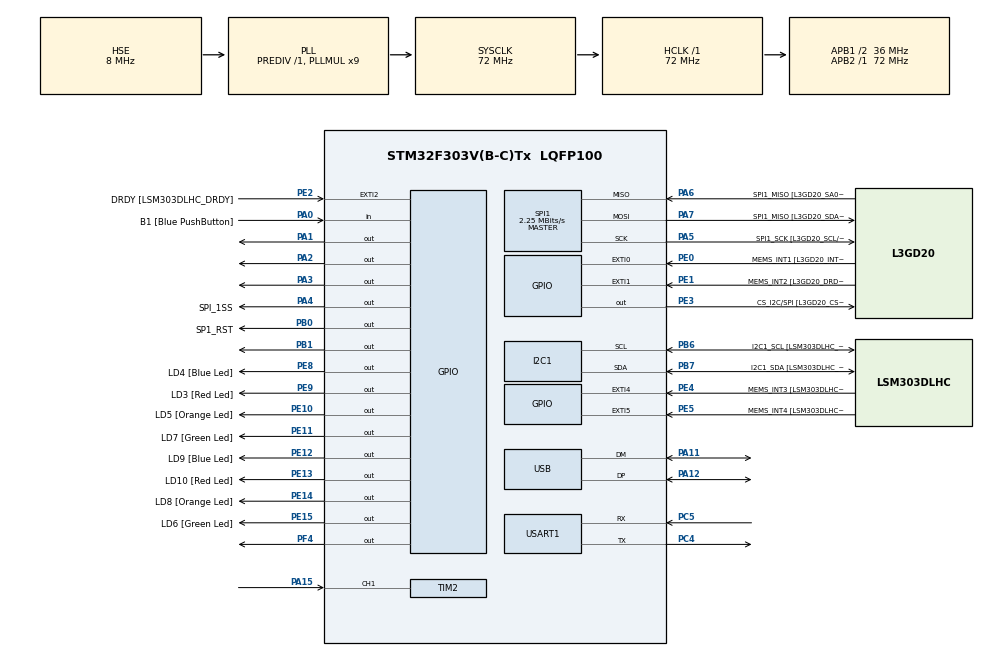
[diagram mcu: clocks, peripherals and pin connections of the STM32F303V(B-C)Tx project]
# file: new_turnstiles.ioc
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I2C1.Timing=0x00201D2B
I2C1.Timing-I2C=0x2000090E
Mcu.Family=STM32F3
Mcu.Name=STM32F303V(B-C)Tx
Mcu.Package=LQFP100
NVIC.PriorityGroup=NVIC_PRIORITYGROUP_0
NVIC.TIM2_IRQn=true\:0\:0\:false\:false\:true\:true\:true\:true
PA0.GPIO_Label=B1 [Blue PushButton]
PA0.Signal=GPIO_Input
PA1.Signal=GPIO_Output
PA11.GPIO_Mode=GPIO_MODE_AF_PP
PA11.GPIO_PuPd=GPIO_NOPULL
PA11.GPIO_Speed=GPIO_SPEED_FREQ_HIGH
PA11.Mode=Device
PA11.Signal=USB_DM
PA12.GPIO_Mode=GPIO_MODE_AF_PP
PA12.GPIO_PuPd=GPIO_NOPULL
PA12.GPIO_Speed=GPIO_SPEED_FREQ_HIGH
PA12.Mode=Device
PA12.Signal=USB_DP
PA13.GPIO_Label=SWDIO
PA13.Mode=Serial_Wire
PA13.Signal=SYS_JTMS-SWDIO
PA14.GPIO_Label=SWCLK
PA14.Mode=Serial_Wire
PA14.Signal=SYS_JTCK-SWCLK
PA15.GPIO_PuPd=GPIO_PULLUP
PA15.Signal=S_TIM2_CH1_ETR
PA2.Signal=GPIO_Output
PA3.Signal=GPIO_Output
PA4.GPIO_Label=SPI_1SS
PA4.Signal=GPIO_Output
PA5.GPIO_Label=SPI1_SCK [L3GD20_SCL/SPC]
PA5.Mode=Full_Duplex_Master
PA5.Signal=SPI1_SCK
PA6.GPIO_Label=SPI1_MISO [L3GD20_SA0/SDO]
PA6.Mode=Full_Duplex_Master
PA6.Signal=SPI1_MISO
PA7.GPIO_Label=SPI1_MISO [L3GD20_SDA/SDI/SDO]
PA7.Mode=Full_Duplex_Master
PA7.Signal=SPI1_MOSI
PB0.GPIO_Label=SP1_RST
PB0.GPIO_PuPd=GPIO_NOPULL
PB0.Signal=GPIO_Output
PB1.Signal=GPIO_Output
PB3.GPIO_Label=SWO
PB3.Signal=SYS_JTDO-TRACESWO
PB6.GPIO_Label=I2C1_SCL [LSM303DLHC_SCL]
PB6.GPIO_Pu=GPIO_PULLUP
PB6.Mode=I2C
PB6.Signal=I2C1_SCL
PB7.GPIO_Label=I2C1_SDA [LSM303DLHC_SDA]
PB7.GPIO_Pu=GPIO_PULLUP
PB7.Mode=I2C
PB7.Signal=I2C1_SDA
PC14-OSC32_IN.GPIO_Label=OSC32_IN
PC14-OSC32_IN.Signal=RCC_OSC32_IN
PC15-OSC32_OUT.GPIO_Label=OSC32_OUT
PC15-OSC32_OUT.Signal=RCC_OSC32_OUT
PC4.Mode=Asynchronous
PC4.Signal=USART1_TX
PC5.Mode=Asynchronous
PC5.Signal=USART1_RX
PE0.GPIO_Label=MEMS_INT1 [L3GD20_INT1]
PE0.GPIO_ModeDefaultEXTI=GPIO_MODE_EVT_RISING
PE0.Signal=GPXTI0
PE1.GPIO_Label=MEMS_INT2 [L3GD20_DRDY/INT2]
PE1.GPIO_ModeDefaultEXTI=GPIO_MODE_EVT_RISING
PE1.Signal=GPXTI1
PE10.GPIO_Label=LD5 [Orange Led]
PE10.Signal=GPIO_Output
PE11.GPIO_Label=LD7 [Green Led]
PE11.Signal=GPIO_Output
PE12.GPIO_Label=LD9 [Blue Led]
PE12.Signal=GPIO_Output
PE13.GPIO_Label=LD10 [Red Led]
PE13.Signal=GPIO_Output
PE14.GPIO_Label=LD8 [Orange Led]
PE14.Signal=GPIO_Output
PE15.GPIO_Label=LD6 [Green Led]
PE15.Signal=GPIO_Output
PE2.GPIO_Label=DRDY [LSM303DLHC_DRDY]
PE2.GPIO_ModeDefaultEXTI=GPIO_MODE_EVT_RISING
PE2.Signal=GPXTI2
PE3.GPIO_Label=CS_I2C/SPI [L3GD20_CS_I2C/SPI]
PE3.Signal=GPIO_Output
PE4.GPIO_Label=MEMS_INT3 [LSM303DLHC_INT1]
PE4.GPIO_ModeDefaultEXTI=GPIO_MODE_EVT_RISING
PE4.Signal=GPXTI4
PE5.GPIO_Label=MEMS_INT4 [LSM303DLHC_INT2]
PE5.GPIO_ModeDefaultEXTI=GPIO_MODE_EVT_RISING
PE5.Signal=GPXTI5
PE8.GPIO_Label=LD4 [Blue Led]
PE8.Signal=GPIO_Output
PE9.GPIO_Label=LD3 [Red Led]
PE9.Signal=GPIO_Output
PF0-OSC_IN.GPIO_Label=OSC_IN
PF0-OSC_IN.Mode=HSE-External-Clock-Source
PF0-OSC_IN.Signal=RCC_OSC_IN
PF1-OSC_OUT.GPIO_Label=OSC_OUT
PF1-OSC_OUT.Signal=RCC_OSC_OUT
PF4.Signal=GPIO_Output
ProjectManager.HeapSize=0x200
ProjectManager.StackSize=0x400
ProjectManager.TargetToolchain=STM32CubeIDE
RCC.AHBFreq_Value=72000000
RCC.APB1CLKDivider=RCC_HCLK_DIV2
RCC.APB1Freq_Value=36000000
RCC.APB1TimFreq_Value=72000000
RCC.APB2Freq_Value=72000000
RCC.APB2TimFreq_Value=72000000
RCC.CortexFreq_Value=72000000
RCC.HCLKFreq_Value=72000000
RCC.HSE_VALUE=8000000
RCC.HSI_VALUE=8000000
RCC.LSE_VALUE=32768
RCC.PLLMUL=RCC_PLL_MUL9
RCC.PRESCALERUSB=RCC_USBCLKSOURCE_PLL_DIV1_5
RCC.SYSCLKFreq_VALUE=72000000
RCC.SYSCLKSourceVirtual=RCC_SYSCLKSOURCE_PLLCLK
RCC.USBFreq_Value=48000000
SH.S_TIM2_CH1_ETR.0=TIM2_CH1,Input_Capture1_from_TI1
SPI1.BaudRatePrescaler=SPI_BAUDRATEPRESCALER_32
SPI1.BaudRatePrescaler-Full_Duplex_Master=SPI_BAUDRATEPRESCALER_2
SPI1.CalculateBaudRate=2.25 MBits/s
SPI1.CalculateBaudRate-Full_Duplex_Master=24.0 MBits/s
SPI1.DataSize=SPI_DATASIZE_8BIT
SPI1.Direction=SPI_DIRECTION_2LINES
SPI1.Mode=SPI_MODE_MASTER
SPI1.Mode-Full_Duplex_Master=SPI_MODE_MASTER
SPI1.VirtualType=VM_MASTER
TIM1.Prescaler=72-1
TIM2.Channel-Input_Capture1_from_TI1=TIM_CHANNEL_1
TIM2.Prescaler=72-1
USART1.VirtualMode-Asynchronous=VM_ASYNC
VP_TIM1_VS_ClockSourceINT.Mode=Internal
board=STM32F3DISCOVERY

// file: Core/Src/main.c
/* USER CODE BEGIN Header */
/**
  ******************************************************************************
  * @file           : main.c
  * @brief          : Main program body
  ******************************************************************************
  * @attention
  *
  * Copyright (c) 2025 STMicroelectronics.
  * All rights reserved.
  *
  * This software is licensed under terms that can be found in the LICENSE file
  * in the root directory of this software component.
  * If no LICENSE file comes with this software, it is provided AS-IS.
  *
  ******************************************************************************
  */
/* USER CODE END Header */
#include "main.h"

/* USER CODE BEGIN Includes */
#include "rc522.h"
#include <stdbool.h> // Aggiungi questa riga per il tipo bool
#include "Tag.h"
#include "lcd_i2c.h"
#include <stdio.h> // Per sprintf
/* USER CODE END Includes */

/* USER CODE BEGIN PD */

#define stepsperrev 4096 //PER UNA RIVOLUZIONE

/* USER CODE END PD */

I2C_HandleTypeDef hi2c1;

SPI_HandleTypeDef hspi1;

TIM_HandleTypeDef htim1;
TIM_HandleTypeDef htim2;

UART_HandleTypeDef huart1;

PCD_HandleTypeDef hpcd_USB_FS;

/* USER CODE BEGIN PV */
volatile uint8_t bitCount = 0;
volatile uint8_t isStartCaptured = 0; // 0: reset, 1: start bit (9ms pulse) captured, 2: 4.5ms pulse captured
volatile uint32_t receivedData = 0;
static volatile uint8_t isRisingCaptured = 0; // Questa variabile non sembra usata nel codice fornito, potrebbe essere un residuo
static volatile uint32_t IC_Value = 0; // Valore catturato dall'Input Capture
/* USER CODE END PV */

void SystemClock_Config(void);
static void MX_GPIO_Init(void);
static void MX_I2C1_Init(void);
static void MX_SPI1_Init(void);
static void MX_USB_PCD_Init(void);
static void MX_TIM1_Init(void);
static void MX_TIM2_Init(void);
static void MX_USART1_UART_Init(void);

/* USER CODE BEGIN 0 */
/* Private user code ---------------------------------------------------------*/
/* USER CODE BEGIN 0 */

void i2c_scanner(void)
{
    uint8_t i;
    HAL_StatusTypeDef ret;
    char buffer[20];
    uint8_t found_devices = 0;

    // Optional: if you have a serial port/UART configured, you can print messages there
    // Otherwise, you can use a breakpoint in debugger to check the output
    // For now, let's assume you'll use a debugger or just count LEDs

    // Toggle a LED to indicate scanning started
    HAL_GPIO_TogglePin(GPIOE, LD3_Pin); // Use one of your LEDs on GPIOE

    for(i = 1; i < 128; i++) // I2C addresses are 7-bit, from 0x01 to 0x77
    {
        // Try to transmit 1 byte to the current address
        // The last parameter (1) is the number of bytes to transmit, doesn't matter what
        // The timeout (5) is short to quickly check for ACK
        ret = HAL_I2C_IsDeviceReady(&hi2c1, (uint16_t)(i << 1), 2, 5); // Shift address for 8-bit format

        if (ret == HAL_OK) // Device responded (ACK received)
        {
            // Device found!
            found_devices++;
            // If you have a UART setup, you could print the address:
            // sprintf(buffer, "Found I2C device at 0x%X\r\n", i);
            // HAL_UART_Transmit(&huart2, (uint8_t*)buffer, strlen(buffer), 100);

            // You can also blink a specific LED or set a breakpoint here
            HAL_GPIO_TogglePin(GPIOE, LD4_Pin); // Blink another LED to confirm detection
            HAL_Delay(100); // Small delay to make LED blink visible
        }
    }

    // Toggle LED again to indicate scanning finished
    HAL_GPIO_TogglePin(GPIOE, LD3_Pin);

    // If you're debugging, you can check 'found_devices' variable here.
    // If found_devices > 0, it means at least one device responded.
    // If found_devices == 1 and you only have the LCD, then 'i' in the loop
    // when ret == HAL_OK will be your LCD address.
}

// Funzione per tagliare una stringa a una lunghezza massima
void truncateString(char* str, size_t maxLength) {
    if (strlen(str) > maxLength) {
        str[maxLength] = '\0';
    }
}

void delay (uint16_t us)
{
	__HAL_TIM_SET_COUNTER(&htim1, 0);
	while (__HAL_TIM_GET_COUNTER(&htim1) < us);
}

void stepper_set_rpm (int rpm)  // Set rpm--> max 13, min 1,,,  went to 14 rev/min
{
	delay(60000000/stepsperrev/rpm);
}

void stepper_half_drive (int step)
{
	switch (step){
		case 0:
			HAL_GPIO_WritePin(GPIOA, GPIO_PIN_1, GPIO_PIN_SET);   // IN1
			HAL_GPIO_WritePin(GPIOA, GPIO_PIN_2, GPIO_PIN_RESET);   // IN2
			HAL_GPIO_WritePin(GPIOA, GPIO_PIN_3, GPIO_PIN_RESET);   // IN3
			HAL_GPIO_WritePin(GPIOF, GPIO_PIN_4, GPIO_PIN_RESET);   // IN4
			break;
		case 1:
			HAL_GPIO_WritePin(GPIOA, GPIO_PIN_1, GPIO_PIN_SET);   // IN1
			HAL_GPIO_WritePin(GPIOA, GPIO_PIN_2, GPIO_PIN_SET);   // IN2
			HAL_GPIO_WritePin(GPIOA, GPIO_PIN_3, GPIO_PIN_RESET);   // IN3
			HAL_GPIO_WritePin(GPIOF, GPIO_PIN_4, GPIO_PIN_RESET);   // IN4
			break;
		case 2:
			HAL_GPIO_WritePin(GPIOA, GPIO_PIN_1, GPIO_PIN_RESET);   // IN1
			HAL_GPIO_WritePin(GPIOA, GPIO_PIN_2, GPIO_PIN_SET);   // IN2
			HAL_GPIO_WritePin(GPIOA, GPIO_PIN_3, GPIO_PIN_RESET);   // IN3
			HAL_GPIO_WritePin(GPIOF, GPIO_PIN_4, GPIO_PIN_RESET);   // IN4
			break;
		case 3:
			HAL_GPIO_WritePin(GPIOA, GPIO_PIN_1, GPIO_PIN_RESET);   // IN1
			HAL_GPIO_WritePin(GPIOA, GPIO_PIN_2, GPIO_PIN_SET);   // IN2
			HAL_GPIO_WritePin(GPIOA, GPIO_PIN_3, GPIO_PIN_SET);   // IN3
			HAL_GPIO_WritePin(GPIOF, GPIO_PIN_4, GPIO_PIN_RESET);   // IN4
			break;
		case 4:
			HAL_GPIO_WritePin(GPIOA, GPIO_PIN_1, GPIO_PIN_RESET);   // IN1
			HAL_GPIO_WritePin(GPIOA, GPIO_PIN_2, GPIO_PIN_RESET);   // IN2
			HAL_GPIO_WritePin(GPIOA, GPIO_PIN_3, GPIO_PIN_SET);   // IN3
			HAL_GPIO_WritePin(GPIOF, GPIO_PIN_4, GPIO_PIN_RESET);   // IN4
			break;
		case 5:
			HAL_GPIO_WritePin(GPIOA, GPIO_PIN_1, GPIO_PIN_RESET);   // IN1
			HAL_GPIO_WritePin(GPIOA, GPIO_PIN_2, GPIO_PIN_RESET);   // IN2
			HAL_GPIO_WritePin(GPIOA, GPIO_PIN_3, GPIO_PIN_SET);   // IN3
			HAL_GPIO_WritePin(GPIOF, GPIO_PIN_4, GPIO_PIN_SET);   // IN4
			break;
		case 6:
			HAL_GPIO_WritePin(GPIOA, GPIO_PIN_1, GPIO_PIN_RESET);   // IN1
			HAL_GPIO_WritePin(GPIOA, GPIO_PIN_2, GPIO_PIN_RESET);   // IN2
			HAL_GPIO_WritePin(GPIOA, GPIO_PIN_3, GPIO_PIN_RESET);   // IN3
			HAL_GPIO_WritePin(GPIOF, GPIO_PIN_4, GPIO_PIN_SET);   // IN4
			break;
		case 7:
			HAL_GPIO_WritePin(GPIOA, GPIO_PIN_1, GPIO_PIN_SET);   // IN1
			HAL_GPIO_WritePin(GPIOA, GPIO_PIN_2, GPIO_PIN_RESET);   // IN2
			HAL_GPIO_WritePin(GPIOA, GPIO_PIN_3, GPIO_PIN_RESET);   // IN3
			HAL_GPIO_WritePin(GPIOF, GPIO_PIN_4, GPIO_PIN_SET);   // IN4
			break;
	}
}

void stepper_step_angle (float angle, int direction, int rpm) //direction-> 0 for CK, 1 for CCK
{
	float anglepersequence = 0.703125;  // 360 = 512 sequences
	int numberofsequences = (int) (angle/anglepersequence);
	for (int seq=0; seq<numberofsequences; seq++)
	{
		if (direction == 0)  // for clockwise
		{
			for (int step=7; step>=0; step--)
				{
				stepper_half_drive(step);
				stepper_set_rpm(rpm);
				}
		}
		else if (direction == 1)  // for anti-clockwise
		{
			for (int step=0; step<=7; step++)
				{
				stepper_half_drive(step);
				stepper_set_rpm(rpm);
				}
		}
	}
}

float currentAngle = 0; // Questa va dichiarata come variabile globale, non locale a main.

void Stepper_rotate (float targetAngle, int rpm) // Accetta float per l'angolo target
{
    float changeInAngle = targetAngle - currentAngle; // Calcola la differenza tra l'angolo target e l'attuale

    if (changeInAngle > 0.001f)  // Per rotazione in senso orario (valore > 0 con una piccola tolleranza)
    {
        stepper_step_angle(changeInAngle, 0, rpm); // direction 0 per orario
    }
    else if (changeInAngle < -0.001f) // Per rotazione in senso antiorario (valore < 0 con una piccola tolleranza)
    {
        stepper_step_angle(-changeInAngle, 1, rpm); // direction 1 per antiorario, passa il valore assoluto dell'angolo
    }
    currentAngle = targetAngle; // Aggiorna l'angolo corrente
}

/* USER CODE END 0 */

int main(void)
{

  /* MCU Configuration--------------------------------------------------------*/

  /* Reset of all peripherals, Initializes the Flash interface and the Systick. */
  HAL_Init();

  /* Configure the system clock */
  SystemClock_Config();

  /* Initialize all configured peripherals */
  MX_GPIO_Init();
  MX_I2C1_Init();
  MX_SPI1_Init();
  MX_USB_PCD_Init();
  MX_TIM1_Init();
  MX_TIM2_Init();
  MX_USART1_UART_Init();
  /* USER CODE BEGIN 2 */
  i2c_scanner();

  HAL_TIM_Base_Start(&htim1); // Questo è il timer che usi per i tuoi ritardi, lascialo
  HAL_TIM_IC_Start_IT(&htim2, TIM_CHANNEL_1); // Avvia l'Input Capture con interruzioni

  uchar status_request=0;
  uchar TagType[2] = {0,0};
  uchar serNum[5]= {0,0,0,0,0};	//Per memorizzare il seriale del tag

  TagData* tag; // Puntatore a TagData, non allocazione qui
  MFRC522_Init(); // Inizializza il sensore RC522

  char displayBuffer[64];
  lcd_init(); // Initialize the LCD
  lcd_display_message_lines("Inserire card"," o biglietto ");

  //stop_stepper_motor(); // Assicuriamoci che il motore passo-passo sia fermo
  /* USER CODE END 2 */

  /* Infinite loop */
  while (1)
  {

    /* USER CODE BEGIN 3 */

	  // Controlla se 32 bit sono stati ricevuti (il flag bitCount lo indica)
	  if (32 <= bitCount) // Gestione sensore IR
	        {
	            char ir_buffer[17]; // Max 16 caratteri
	            snprintf(ir_buffer, 17, "IR DATA: 0x%lX", receivedData);
	            lcd_display_message_lines("RICEVUTO IR:", ir_buffer);
	            HAL_Delay(2000);

	            if (receivedData == receivedData) // Logica IR
	            {
	                lcd_display_message_lines("ACCESSO", "CONSENTITO!");
	                HAL_Delay(1000);
	                //APERTURA TORNELLO
					for (int i = 0; i <= 360; i++) {
						Stepper_rotate((float)i, 10);
					}
					HAL_Delay(1000);
					//CHIUSURA TORNELLO
					for (int i = 360; i >= 0; i--) {
						Stepper_rotate((float)i, 10);
					}

	                lcd_display_message_lines("ARRIVEDERCI", "da Pozzuoli");
	                HAL_Delay(1000);
	            }
	            else
	            {
	                lcd_display_message_lines("IR: CODICE", "SCONOSCIUTO!");
	                HAL_Delay(2000);
	            }

	            bitCount = 0;
	            receivedData = 0;
	            isStartCaptured = 0;
	            HAL_TIM_IC_Start_IT(&htim2, TIM_CHANNEL_1);
	        }

	        if (isSensorDetected()){
	              HAL_GPIO_WritePin(LD10_GPIO_Port, LD10_Pin, GPIO_PIN_SET);
	              HAL_Delay(10);
	              status_request = MFRC522_Request(PICC_REQIDL, TagType);

	              if (status_request == MI_OK)
	              {
	                HAL_GPIO_WritePin(LD3_GPIO_Port, LD3_Pin, GPIO_PIN_SET);
	                lcd_display_message_lines("TAG RFID", "RILEVATO!");
	                HAL_Delay(500);

	                status_request = MFRC522_Anticoll(serNum);
	                if (status_request == MI_OK)
	                {
	                   if(isTagRegistered(&serNum)){
	                       tag = findTag(&serNum);
	                       HAL_GPIO_WritePin(LD7_GPIO_Port, LD7_Pin, GPIO_PIN_SET);

	                       char tagName[MAX_STRING_LENGTH];
	                       char tagSurname[MAX_STRING_LENGTH];
	                       char dispLine1[17]; // Buffer per LCD linea 1
	                       char dispLine2[17]; // Buffer per LCD linea 2

	                       getNamesBySerial(serNum, tagName, sizeof(tagName), tagSurname, sizeof(tagSurname));

	                       // Assicurati che nome e cognome non superino i 16 caratteri per la visualizzazione
	                       truncateString(tagName, 16);
	                       truncateString(tagSurname, 16);

	                       snprintf(dispLine1, 17, "Ciao %s", tagName);
	                       lcd_display_message_lines(dispLine1, tagSurname);
	                       HAL_Delay(1000);
	                       // Visualizza la stazione di partenza attuale del tag
	                       snprintf(dispLine2, 17, "FROM: %s", tag->departureStation);
	                       truncateString(dispLine2, 16); // Tronca se la stazione è troppo lunga
	                       lcd_display_message_lines(tagSurname, dispLine2);
	                       HAL_Delay(2000);

	                       TicketProcessResult result = processTicketPayment(tag);

	                       switch (result.accessType) {
	                           case ACCESS_ENTER:
	                               lcd_display_message_lines(result.messageLine1, result.messageLine2);
	                               HAL_Delay(1000);
	                               //APERTURA TORNELLO
									for (int i = 0; i <= 360; i++) {
										Stepper_rotate((float)i, 10);
									}
									HAL_Delay(1000);
									//CHIUSURA TORNELLO
									for (int i = 360; i >= 0; i--) {
										Stepper_rotate((float)i, 10);
									}
	                               HAL_Delay(1000);
	                               lcd_display_message_lines("TORNELLO APERTO", "BENVENUTO!");
	                               HAL_Delay(1000);
	                               break;

	                           case ACCESS_EXIT:
	                               lcd_display_message_lines(result.messageLine1, result.messageLine2);
	                               HAL_Delay(1000);
	                               //APERTURA TORNELLO
									for (int i = 0; i <= 360; i++) {
										Stepper_rotate((float)i, 10);
									}
									HAL_Delay(1000);
									//CHIUSURA TORNELLO
									for (int i = 360; i >= 0; i--) {
										Stepper_rotate((float)i, 10);
									}
	                               lcd_display_message_lines("TORNELLO CHIUSO", "ARRIVEDERCI!");
	                               HAL_Delay(1000);
	                               break;

	                           case ACCESS_DENIED:
	                               lcd_display_message_lines(result.messageLine1, result.messageLine2);
	                               if (result.showRedLed) {
	                                   HAL_GPIO_WritePin(LD6_GPIO_Port, LD6_Pin, GPIO_PIN_SET);
	                                   HAL_Delay(2000);
	                                   HAL_GPIO_WritePin(LD6_GPIO_Port, LD6_Pin, GPIO_PIN_RESET);
	                               }
	                               HAL_Delay(1000);
	                               break;
	                       }

	                       HAL_GPIO_WritePin(LD7_GPIO_Port, LD7_Pin, GPIO_PIN_RESET);
	                       HAL_Delay(50);
	                       lcd_display_message_lines("Inserire card"," o biglietto ");

	                   }else{
	                       // Tag NON Riconosciuto.
	                       HAL_GPIO_WritePin(LD6_GPIO_Port,LD6_Pin,GPIO_PIN_SET);
	                       lcd_display_message_lines("ACCESSO", "NEGATO!");
	                       HAL_Delay(2000);
	                       HAL_GPIO_WritePin(LD6_GPIO_Port,LD6_Pin,GPIO_PIN_RESET);
	                       HAL_Delay(50);
	                       lcd_display_message_lines("Inserire card"," o biglietto ");
	                   }
	              }
	              else
	              {
	                HAL_GPIO_WritePin(LD3_GPIO_Port, LD3_Pin, GPIO_PIN_RESET);
	              }
	          }
	          else
	          {
	              HAL_GPIO_WritePin(LD10_GPIO_Port, LD10_Pin, GPIO_PIN_RESET);
	              HAL_GPIO_WritePin(LD3_GPIO_Port, LD3_Pin, GPIO_PIN_RESET);
	              HAL_Delay(500);
	          }
	       }
	    }
  /* USER CODE END 3 */
}

void SystemClock_Config(void)
{
  RCC_OscInitTypeDef RCC_OscInitStruct = {0};
  RCC_ClkInitTypeDef RCC_ClkInitStruct = {0};
  RCC_PeriphCLKInitTypeDef PeriphClkInit = {0};

  /** Initializes the RCC Oscillators according to the specified parameters
  * in the RCC_OscInitTypeDef structure.
  */
  RCC_OscInitStruct.OscillatorType = RCC_OSCILLATORTYPE_HSI|RCC_OSCILLATORTYPE_HSE;
  RCC_OscInitStruct.HSEState = RCC_HSE_BYPASS;
  RCC_OscInitStruct.HSEPredivValue = RCC_HSE_PREDIV_DIV1;
  RCC_OscInitStruct.HSIState = RCC_HSI_ON;
  RCC_OscInitStruct.HSICalibrationValue = RCC_HSICALIBRATION_DEFAULT;
  RCC_OscInitStruct.PLL.PLLState = RCC_PLL_ON;
  RCC_OscInitStruct.PLL.PLLSource = RCC_PLLSOURCE_HSE;
  RCC_OscInitStruct.PLL.PLLMUL = RCC_PLL_MUL9;
  if (HAL_RCC_OscConfig(&RCC_OscInitStruct) != HAL_OK)
  {
    Error_Handler();
  }

  /** Initializes the CPU, AHB and APB buses clocks
  */
  RCC_ClkInitStruct.ClockType = RCC_CLOCKTYPE_HCLK|RCC_CLOCKTYPE_SYSCLK
                              |RCC_CLOCKTYPE_PCLK1|RCC_CLOCKTYPE_PCLK2;
  RCC_ClkInitStruct.SYSCLKSource = RCC_SYSCLKSOURCE_PLLCLK;
  RCC_ClkInitStruct.AHBCLKDivider = RCC_SYSCLK_DIV1;
  RCC_ClkInitStruct.APB1CLKDivider = RCC_HCLK_DIV2;
  RCC_ClkInitStruct.APB2CLKDivider = RCC_HCLK_DIV1;

  if (HAL_RCC_ClockConfig(&RCC_ClkInitStruct, FLASH_LATENCY_2) != HAL_OK)
  {
    Error_Handler();
  }
  PeriphClkInit.PeriphClockSelection = RCC_PERIPHCLK_USB|RCC_PERIPHCLK_USART1
                              |RCC_PERIPHCLK_I2C1|RCC_PERIPHCLK_TIM1;
  PeriphClkInit.Usart1ClockSelection = RCC_USART1CLKSOURCE_PCLK2;
  PeriphClkInit.I2c1ClockSelection = RCC_I2C1CLKSOURCE_HSI;
  PeriphClkInit.USBClockSelection = RCC_USBCLKSOURCE_PLL_DIV1_5;
  PeriphClkInit.Tim1ClockSelection = RCC_TIM1CLK_HCLK;
  if (HAL_RCCEx_PeriphCLKConfig(&PeriphClkInit) != HAL_OK)
  {
    Error_Handler();
  }
}

static void MX_I2C1_Init(void)
{

  hi2c1.Instance = I2C1;
  hi2c1.Init.Timing = 0x00201D2B;
  hi2c1.Init.OwnAddress1 = 0;
  hi2c1.Init.AddressingMode = I2C_ADDRESSINGMODE_7BIT;
  hi2c1.Init.DualAddressMode = I2C_DUALADDRESS_DISABLE;
  hi2c1.Init.OwnAddress2 = 0;
  hi2c1.Init.OwnAddress2Masks = I2C_OA2_NOMASK;
  hi2c1.Init.GeneralCallMode = I2C_GENERALCALL_DISABLE;
  hi2c1.Init.NoStretchMode = I2C_NOSTRETCH_DISABLE;
  if (HAL_I2C_Init(&hi2c1) != HAL_OK)
  {
    Error_Handler();
  }

  /** Configure Analogue filter
  */
  if (HAL_I2CEx_ConfigAnalogFilter(&hi2c1, I2C_ANALOGFILTER_ENABLE) != HAL_OK)
  {
    Error_Handler();
  }

  /** Configure Digital filter
  */
  if (HAL_I2CEx_ConfigDigitalFilter(&hi2c1, 0) != HAL_OK)
  {
    Error_Handler();
  }

}

static void MX_SPI1_Init(void)
{

  /* SPI1 parameter configuration*/
  hspi1.Instance = SPI1;
  hspi1.Init.Mode = SPI_MODE_MASTER;
  hspi1.Init.Direction = SPI_DIRECTION_2LINES;
  hspi1.Init.DataSize = SPI_DATASIZE_8BIT;
  hspi1.Init.CLKPolarity = SPI_POLARITY_LOW;
  hspi1.Init.CLKPhase = SPI_PHASE_1EDGE;
  hspi1.Init.NSS = SPI_NSS_SOFT;
  hspi1.Init.BaudRatePrescaler = SPI_BAUDRATEPRESCALER_32;
  hspi1.Init.FirstBit = SPI_FIRSTBIT_MSB;
  hspi1.Init.TIMode = SPI_TIMODE_DISABLE;
  hspi1.Init.CRCCalculation = SPI_CRCCALCULATION_DISABLE;
  hspi1.Init.CRCPolynomial = 7;
  hspi1.Init.CRCLength = SPI_CRC_LENGTH_DATASIZE;
  hspi1.Init.NSSPMode = SPI_NSS_PULSE_ENABLE;
  if (HAL_SPI_Init(&hspi1) != HAL_OK)
  {
    Error_Handler();
  }

}

static void MX_TIM1_Init(void)
{

  TIM_ClockConfigTypeDef sClockSourceConfig = {0};
  TIM_MasterConfigTypeDef sMasterConfig = {0};

  htim1.Instance = TIM1;
  htim1.Init.Prescaler = 72-1;
  htim1.Init.CounterMode = TIM_COUNTERMODE_UP;
  htim1.Init.Period = 65535;
  htim1.Init.ClockDivision = TIM_CLOCKDIVISION_DIV1;
  htim1.Init.RepetitionCounter = 0;
  htim1.Init.AutoReloadPreload = TIM_AUTORELOAD_PRELOAD_DISABLE;
  if (HAL_TIM_Base_Init(&htim1) != HAL_OK)
  {
    Error_Handler();
  }
  sClockSourceConfig.ClockSource = TIM_CLOCKSOURCE_INTERNAL;
  if (HAL_TIM_ConfigClockSource(&htim1, &sClockSourceConfig) != HAL_OK)
  {
    Error_Handler();
  }
  sMasterConfig.MasterOutputTrigger = TIM_TRGO_RESET;
  sMasterConfig.MasterOutputTrigger2 = TIM_TRGO2_RESET;
  sMasterConfig.MasterSlaveMode = TIM_MASTERSLAVEMODE_DISABLE;
  if (HAL_TIMEx_MasterConfigSynchronization(&htim1, &sMasterConfig) != HAL_OK)
  {
    Error_Handler();
  }

}

static void MX_TIM2_Init(void)
{

  TIM_MasterConfigTypeDef sMasterConfig = {0};
  TIM_IC_InitTypeDef sConfigIC = {0};

  htim2.Instance = TIM2;
  htim2.Init.Prescaler = 72-1;
  htim2.Init.CounterMode = TIM_COUNTERMODE_UP;
  htim2.Init.Period = 4294967295;
  htim2.Init.ClockDivision = TIM_CLOCKDIVISION_DIV1;
  htim2.Init.AutoReloadPreload = TIM_AUTORELOAD_PRELOAD_DISABLE;
  if (HAL_TIM_IC_Init(&htim2) != HAL_OK)
  {
    Error_Handler();
  }
  sMasterConfig.MasterOutputTrigger = TIM_TRGO_RESET;
  sMasterConfig.MasterSlaveMode = TIM_MASTERSLAVEMODE_DISABLE;
  if (HAL_TIMEx_MasterConfigSynchronization(&htim2, &sMasterConfig) != HAL_OK)
  {
    Error_Handler();
  }
  sConfigIC.ICPolarity = TIM_INPUTCHANNELPOLARITY_RISING;
  sConfigIC.ICSelection = TIM_ICSELECTION_DIRECTTI;
  sConfigIC.ICPrescaler = TIM_ICPSC_DIV1;
  sConfigIC.ICFilter = 0;
  if (HAL_TIM_IC_ConfigChannel(&htim2, &sConfigIC, TIM_CHANNEL_1) != HAL_OK)
  {
    Error_Handler();
  }

}

static void MX_USART1_UART_Init(void)
{

  huart1.Instance = USART1;
  huart1.Init.BaudRate = 38400;
  huart1.Init.WordLength = UART_WORDLENGTH_8B;
  huart1.Init.StopBits = UART_STOPBITS_1;
  huart1.Init.Parity = UART_PARITY_NONE;
  huart1.Init.Mode = UART_MODE_TX_RX;
  huart1.Init.HwFlowCtl = UART_HWCONTROL_NONE;
  huart1.Init.OverSampling = UART_OVERSAMPLING_16;
  huart1.Init.OneBitSampling = UART_ONE_BIT_SAMPLE_DISABLE;
  huart1.AdvancedInit.AdvFeatureInit = UART_ADVFEATURE_NO_INIT;
  if (HAL_UART_Init(&huart1) != HAL_OK)
  {
    Error_Handler();
  }

}

static void MX_USB_PCD_Init(void)
{

  hpcd_USB_FS.Instance = USB;
  hpcd_USB_FS.Init.dev_endpoints = 8;
  hpcd_USB_FS.Init.speed = PCD_SPEED_FULL;
  hpcd_USB_FS.Init.phy_itface = PCD_PHY_EMBEDDED;
  hpcd_USB_FS.Init.low_power_enable = DISABLE;
  hpcd_USB_FS.Init.battery_charging_enable = DISABLE;
  if (HAL_PCD_Init(&hpcd_USB_FS) != HAL_OK)
  {
    Error_Handler();
  }

}

static void MX_GPIO_Init(void)
{
  GPIO_InitTypeDef GPIO_InitStruct = {0};

  /* GPIO Ports Clock Enable */
  __HAL_RCC_GPIOE_CLK_ENABLE();
  __HAL_RCC_GPIOC_CLK_ENABLE();
  __HAL_RCC_GPIOF_CLK_ENABLE();
  __HAL_RCC_GPIOA_CLK_ENABLE();
  __HAL_RCC_GPIOB_CLK_ENABLE();

  /*Configure GPIO pin Output Level */
  HAL_GPIO_WritePin(GPIOE, CS_I2C_SPI_Pin|LD4_Pin|LD3_Pin|LD5_Pin
                          |LD7_Pin|LD9_Pin|LD10_Pin|LD8_Pin
                          |LD6_Pin, GPIO_PIN_RESET);

  /*Configure GPIO pin Output Level */
  HAL_GPIO_WritePin(GPIOA, GPIO_PIN_1|GPIO_PIN_2|GPIO_PIN_3|SPI_1SS_Pin, GPIO_PIN_RESET);

  /*Configure GPIO pin Output Level */
  HAL_GPIO_WritePin(GPIOF, GPIO_PIN_4, GPIO_PIN_RESET);

  /*Configure GPIO pin Output Level */
  HAL_GPIO_WritePin(GPIOB, SP1_RST_Pin|GPIO_PIN_1, GPIO_PIN_RESET);

  /*Configure GPIO pins : DRDY_Pin MEMS_INT3_Pin MEMS_INT4_Pin MEMS_INT1_Pin
                           MEMS_INT2_Pin */
  GPIO_InitStruct.Pin = DRDY_Pin|MEMS_INT3_Pin|MEMS_INT4_Pin|MEMS_INT1_Pin
                          |MEMS_INT2_Pin;
  GPIO_InitStruct.Mode = GPIO_MODE_EVT_RISING;
  GPIO_InitStruct.Pull = GPIO_NOPULL;
  HAL_GPIO_Init(GPIOE, &GPIO_InitStruct);

  /*Configure GPIO pins : CS_I2C_SPI_Pin LD4_Pin LD3_Pin LD5_Pin
                           LD7_Pin LD9_Pin LD10_Pin LD8_Pin
                           LD6_Pin */
  GPIO_InitStruct.Pin = CS_I2C_SPI_Pin|LD4_Pin|LD3_Pin|LD5_Pin
                          |LD7_Pin|LD9_Pin|LD10_Pin|LD8_Pin
                          |LD6_Pin;
  GPIO_InitStruct.Mode = GPIO_MODE_OUTPUT_PP;
  GPIO_InitStruct.Pull = GPIO_NOPULL;
  GPIO_InitStruct.Speed = GPIO_SPEED_FREQ_LOW;
  HAL_GPIO_Init(GPIOE, &GPIO_InitStruct);

  /*Configure GPIO pin : B1_Pin */
  GPIO_InitStruct.Pin = B1_Pin;
  GPIO_InitStruct.Mode = GPIO_MODE_INPUT;
  GPIO_InitStruct.Pull = GPIO_NOPULL;
  HAL_GPIO_Init(B1_GPIO_Port, &GPIO_InitStruct);

  /*Configure GPIO pins : PA1 PA2 PA3 SPI_1SS_Pin */
  GPIO_InitStruct.Pin = GPIO_PIN_1|GPIO_PIN_2|GPIO_PIN_3|SPI_1SS_Pin;
  GPIO_InitStruct.Mode = GPIO_MODE_OUTPUT_PP;
  GPIO_InitStruct.Pull = GPIO_NOPULL;
  GPIO_InitStruct.Speed = GPIO_SPEED_FREQ_LOW;
  HAL_GPIO_Init(GPIOA, &GPIO_InitStruct);

  /*Configure GPIO pin : PF4 */
  GPIO_InitStruct.Pin = GPIO_PIN_4;
  GPIO_InitStruct.Mode = GPIO_MODE_OUTPUT_PP;
  GPIO_InitStruct.Pull = GPIO_NOPULL;
  GPIO_InitStruct.Speed = GPIO_SPEED_FREQ_LOW;
  HAL_GPIO_Init(GPIOF, &GPIO_InitStruct);

  /*Configure GPIO pins : SP1_RST_Pin PB1 */
  GPIO_InitStruct.Pin = SP1_RST_Pin|GPIO_PIN_1;
  GPIO_InitStruct.Mode = GPIO_MODE_OUTPUT_PP;
  GPIO_InitStruct.Pull = GPIO_NOPULL;
  GPIO_InitStruct.Speed = GPIO_SPEED_FREQ_LOW;
  HAL_GPIO_Init(GPIOB, &GPIO_InitStruct);

}

/* USER CODE BEGIN 4 */
/* USER CODE BEGIN 4 */

void HAL_TIM_IC_CaptureCallback(TIM_HandleTypeDef *htim)
{
    if (htim->Instance == TIM2 && htim->Channel == HAL_TIM_ACTIVE_CHANNEL_1) // Abbiamo usato TIM2 Canale 1
    {
        if(0 == bitCount && 0 == isStartCaptured && 0 == receivedData)
        {
            // Primo fronte di salita del bit di start (9ms)
            isStartCaptured = 1;
        }
        else if(0 == bitCount && 1 == isStartCaptured && 0 == receivedData)
        {
            // Secondo fronte di salita del bit di start (dopo 4.5ms)
            // Resetta il contatore del timer per misurare la durata del primo bit di dati
            __HAL_TIM_SET_COUNTER(htim, 0);
            isStartCaptured = 2; // Passa allo stato di acquisizione dati
        }
        else if(32 > bitCount) // Abbiamo ancora bit da ricevere (32 bit per il protocollo NEC)
        {
            IC_Value = HAL_TIM_ReadCapturedValue(htim, TIM_CHANNEL_1);
            __HAL_TIM_SET_COUNTER(htim, 0); // Resetta il contatore per la prossima misurazione

            // Decodifica il bit basandosi sulla durata dell'impulso
            // Il protocollo NEC per un '0' ha una durata di ~1.125ms (562.5us MARK + 562.5us SPACE)
            // Per un '1' ha una durata di ~2.25ms (562.5us MARK + 1.687ms SPACE)
            // I valori 1000-1300 e 2100-2400 us suggeriscono che il timer ha un tick di 1us.
            // Questi sono i "gap" tra i fronti di discesa, che rappresentano il "SPACE" del bit.

            // Received Logic '0'
            if(IC_Value > 1000 && IC_Value < 1300) // Questo è il tempo dello "SPACE" per un 0 (~1.125ms)
            {
                receivedData &= ~(1UL << bitCount); // Imposta il bit in pos bitCount a 0
            }
            // Received Logic '1'
            else if(IC_Value > 2100 && IC_Value < 2400) // Questo è il tempo dello "SPACE" per un 1 (~2.25ms)
            {
                receivedData |= (1UL << bitCount); // Imposta il bit in pos bitCount a 1
            }
            // ELSE: se il valore non rientra in questi range, è un errore o una tempistica non NEC

            bitCount++; // Passa al bit successivo
            if(bitCount == 32) // Tutti i 32 bit sono stati ricevuti
            {
                // Ferma l'Input Capture per evitare ulteriori interruzioni finché non viene processato il dato
                HAL_TIM_IC_Stop_IT(htim, TIM_CHANNEL_1); // Ho cambiato &htim2 in htim
            }
        }
    }
}
/* USER CODE END 4 */
/* USER CODE END 4 */

void Error_Handler(void)
{
  __disable_irq();
  while (1)
  {
  }
}
